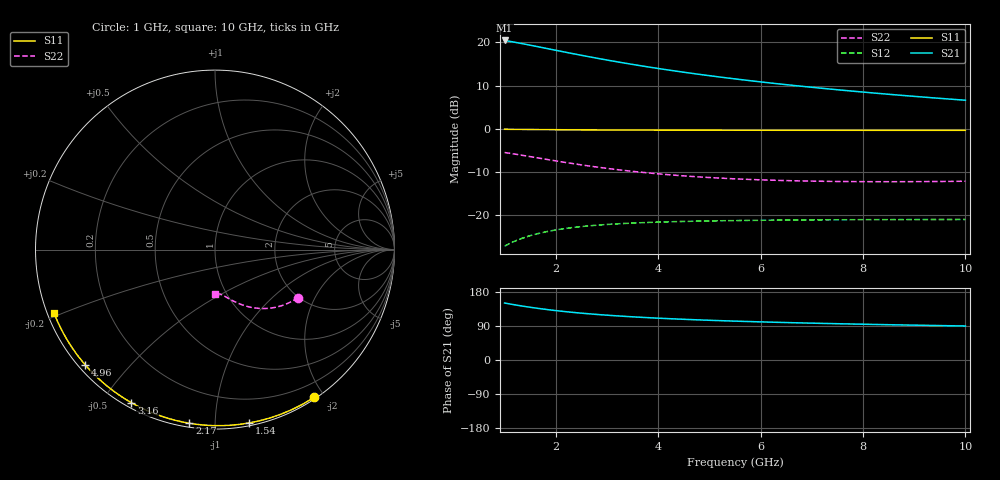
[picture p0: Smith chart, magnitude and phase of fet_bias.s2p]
# GHz S RI R 50
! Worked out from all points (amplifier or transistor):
!   101 points, 1 GHz to 10 GHz, reference 50 ohm
!   highest |S21| = 20.5 dB at 1 GHz (marker M1)
!   |S21| within 3 dB of that: start of sweep to 2.311 GHz
!   unconditionally stable (mu >= 1): nowhere
!   at 2.44 GHz: K = 0.01, MSG = 19.9 dB, |S12| = -22.7 dB
!   at 5.5 GHz: K = 0.02, MSG = 16.4 dB, |S12| = -21.2 dB
!   at 10 GHz: K = 0.04, MSG = 13.8 dB, |S12| = -20.9 dB
!   S11 on the Smith chart (normalised r, x): 1 GHz: 0.02, -1.87; 1.54 GHz: 0.02, -1.22; 2.17 GHz: 0.02, -0.86; 3.16 GHz: 0.02, -0.59; 4.96 GHz: 0.02, -0.38; 10 GHz: 0.02, -0.19
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1  0.5516 -0.8239  -9.158 5.212  0.0217 0.0385  0.4623 -0.2669
1.09  0.4892 -0.861  -8.762 5.447  0.0247 0.0401  0.4431 -0.2796
1.27  0.3657 -0.9177  -7.979 5.805  0.0307 0.0426  0.4052 -0.2995
1.36  0.3055 -0.9382  -7.598 5.934  0.0336 0.0435  0.3867 -0.3071
1.54  0.1905 -0.9659  -6.869 6.107  0.0391 0.0446  0.3513 -0.3182
1.81  0.0339 -0.9809  -5.877 6.2  0.0467 0.0449  0.3031 -0.3266
1.99  -0.0588 -0.9779  -5.289 6.179  0.0511 0.0445  0.2745 -0.3283
2.17  -0.1423 -0.9677  -4.76 6.112  0.0552 0.0438  0.2488 -0.3277
2.35  -0.2171 -0.9522  -4.286 6.012  0.0588 0.0428  0.2257 -0.3255
2.53  -0.2839 -0.9331  -3.863 5.89  0.062 0.0416  0.205 -0.3222
2.8  -0.3707 -0.9003  -3.313 5.679  0.0661 0.0396  0.1781 -0.316
3.16  -0.4654 -0.8531  -2.713 5.377  0.0707 0.0368  0.1486 -0.3067
3.61  -0.5573 -0.794  -2.131 4.997  0.0751 0.0334  0.1198 -0.2949
4.06  -0.6273 -0.7381  -1.687 4.639  0.0784 0.03  0.0976 -0.2842
4.51  -0.6815 -0.687  -1.345 4.311  0.0809 0.0269  0.0803 -0.2749
4.96  -0.7239 -0.6409  -1.076 4.014  0.0829 0.0241  0.0664 -0.2671
5.5  -0.7637 -0.5918  -0.8252 3.697  0.0847 0.021  0.053 -0.2596
6.22  -0.8031 -0.5357  -0.576 3.335  0.0864 0.0173  0.0392 -0.2525
7.03  -0.8352 -0.4832  -0.3746 2.994  0.0878 0.0136  0.0272 -0.2477
7.75  -0.8562 -0.444  -0.2425 2.74  0.0886 0.0107  0.0186 -0.2456
8.56  -0.8743 -0.4067  -0.1298 2.495  0.0892 0.00785  0.0104 -0.2453
10  -0.8968 -0.3538  0.00912 2.146  0.0898 0.00338  -0.00188 -0.2486
